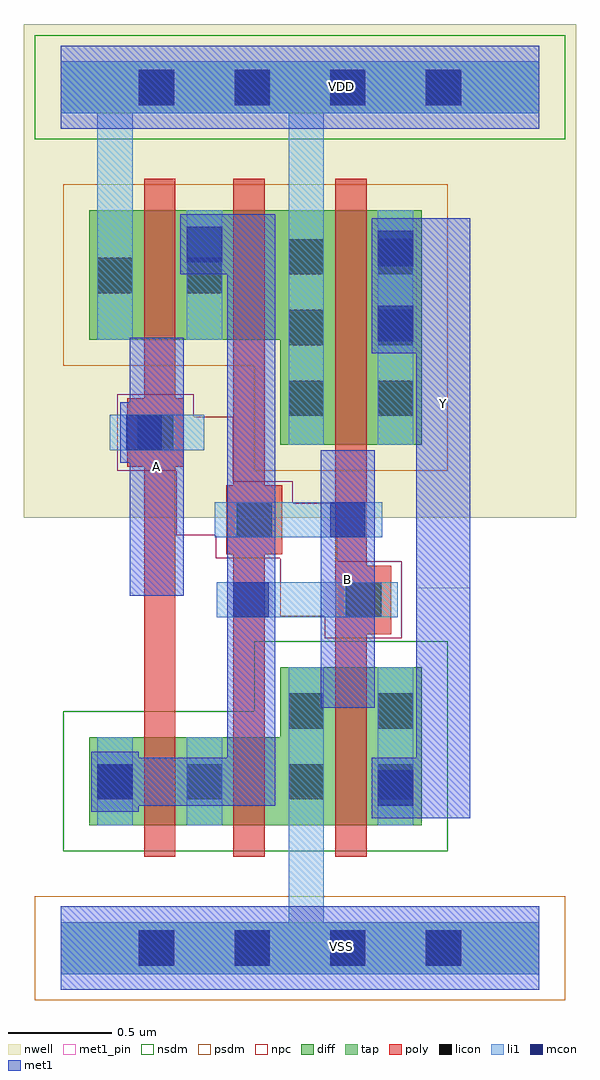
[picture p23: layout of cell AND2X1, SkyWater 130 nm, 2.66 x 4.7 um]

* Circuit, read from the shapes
.subckt AND2X1 A B VDD VSS Y
XM1 n1 A n2 VSS sky130_fd_pr__nfet_01v8 w=0.425 l=0.15
XM2 VSS B n1 VSS sky130_fd_pr__nfet_01v8 w=0.425 l=0.15
XM3 Y n2 VSS VSS sky130_fd_pr__nfet_01v8 w=0.76 l=0.15
XM4 n2 A VDD VDD sky130_fd_pr__pfet_01v8 w=0.625 l=0.15
XM5 VDD B n2 VDD sky130_fd_pr__pfet_01v8 w=0.625 l=0.15
XM6 Y n2 VDD VDD sky130_fd_pr__pfet_01v8 w=1.13 l=0.15
.ends

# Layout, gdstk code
import gdstk
lib = gdstk.Library(unit=1e-6, precision=1e-09)
def R(c, l, rs):  # rectangles x0, y0, x1, y1
    for r in rs: c.add(gdstk.rectangle(r[:2], r[2:], *l))
def A(c, l, x, y, w, h, nx, ny, dx, dy):  # array of equal rectangles
    R(c, l, [(x+i*dx, y+j*dy, x+i*dx+w, y+j*dy+h) for i in range(nx) for j in range(ny)])
nwell = (64, 20)
diff = (65, 20)
tap = (65, 44)
poly = (66, 20)
licon = (66, 44)
li1 = (67, 20)
mcon = (67, 44)
met1_pin = (68, 16)
met1 = (68, 20)
nsdm = (93, 44)
psdm = (94, 20)
npc = (95, 20)

and2x1 = lib.new_cell('AND2X1')
R(and2x1, nwell, [(-0.18,2.07,2.48,4.445)])
R(and2x1, diff, [(0.135,0.59,1.735,1.015), (1.055,1.015,1.735,1.35), (1.055,2.42,1.735,2.925), (0.135,2.925,1.735,3.55)])
R(and2x1, tap, [(0,-0.125,2.3,0.125), (0,4.015,2.3,4.265)])
R(and2x1, poly, [(0.4,0.44,0.55,2.315), (0.83,0.44,0.98,1.895), (1.32,0.44,1.47,1.51), (1.32,1.51,1.59,1.84), (1.32,1.84,1.47,3.7), (0.795,1.895,1.065,2.225), (0.83,2.225,0.98,3.7), (0.32,2.315,0.59,2.645), (0.4,2.645,0.55,3.7)])
A(and2x1, licon, 0.375, -0.085, 0.17, 0.17, 4, 2, 0.46, 4.14)
A(and2x1, licon, 1.095, 2.56, 0.17, 0.17, 1, 3, 0, 0.34)
A(and2x1, licon, 1.525, 2.56, 0.17, 0.17, 1, 3, 0, 0.34)
R(and2x1, licon, [(0.175,0.715,0.345,0.885), (0.605,0.715,0.775,0.885), (1.095,0.715,1.265,0.885), (1.525,0.715,1.695,0.885), (1.095,1.055,1.265,1.225), (1.525,1.055,1.695,1.225), (1.37,1.59,1.54,1.76), (0.845,1.975,1.015,2.145), (0.37,2.395,0.54,2.565), (0.175,3.15,0.345,3.32), (0.605,3.15,0.775,3.32)])
R(and2x1, li1, [(0,-0.125,2.3,0.125), (1.095,0.125,1.265,1.35), (0.175,0.59,0.345,1.015), (0.605,0.59,0.775,1.015), (1.525,0.59,1.695,1.35), (0.75,1.59,1.62,1.76), (0.74,1.975,1.545,2.145), (0.235,2.395,0.69,2.565), (1.095,2.42,1.265,4.015), (1.525,2.42,1.695,3.55), (0.175,2.925,0.345,4.015), (0.605,2.925,0.775,3.55), (0,4.015,2.3,4.265)])
A(and2x1, mcon, 0.375, -0.085, 0.17, 0.17, 4, 2, 0.46, 4.14)
R(and2x1, mcon, [(1.525,0.685,1.695,0.855), (0.175,0.715,0.345,0.885), (0.83,1.59,1,1.76), (1.295,1.975,1.465,2.145), (0.315,2.395,0.485,2.565), (1.525,2.92,1.695,3.09), (1.525,3.28,1.695,3.45), (0.605,3.3,0.775,3.47)])
R(and2x1, met1_pin, [(1.25,1.155,1.51,2.395), (0.33,1.695,0.59,2.935), (1.71,1.73,1.97,3.51)])
R(and2x1, met1, [(0,-0.2,2.3,0.2), (1.495,0.625,1.97,0.915), (0.145,0.655,0.375,0.685), (0.145,0.685,1.03,0.915), (0.145,0.915,0.375,0.945), (0.8,0.915,1.03,3.24), (1.71,0.915,1.97,2.86), (1.25,1.155,1.51,2.395), (0.33,1.695,0.59,2.335), (0.285,2.335,0.59,2.625), (0.33,2.625,0.59,2.935), (1.495,2.86,1.97,3.51), (0.575,3.24,1.03,3.53), (0,3.94,2.3,4.34)])
R(and2x1, nsdm, [(0.01,0.465,1.86,1.14), (0.93,1.14,1.86,1.475), (-0.125,3.89,2.425,4.39)])
R(and2x1, psdm, [(-0.125,-0.25,2.425,0.25), (0.93,2.295,1.86,2.8), (0.01,2.8,1.86,3.675)])
R(and2x1, npc, [(1.27,1.49,1.64,1.595), (1.055,1.595,1.64,1.86), (1.055,1.86,1.33,1.875), (0.745,1.875,1.33,1.985), (0.555,1.985,1.33,2.14), (0.555,2.14,1.115,2.245), (0.555,2.245,0.83,2.295), (0.27,2.295,0.83,2.555), (0.27,2.555,0.64,2.665)])
and2x1.add(gdstk.Label('VDD', (1.35,4.145), layer=68, texttype=5))
and2x1.add(gdstk.Label('VSS', (1.35,0.005), layer=68, texttype=5))
and2x1.add(gdstk.Label('A', (0.46,2.315), layer=68, texttype=5))
and2x1.add(gdstk.Label('Y', (1.84,2.62), layer=68, texttype=5))
and2x1.add(gdstk.Label('B', (1.38,1.775), layer=68, texttype=5))

lib.write_gds('AND2X1.gds')
